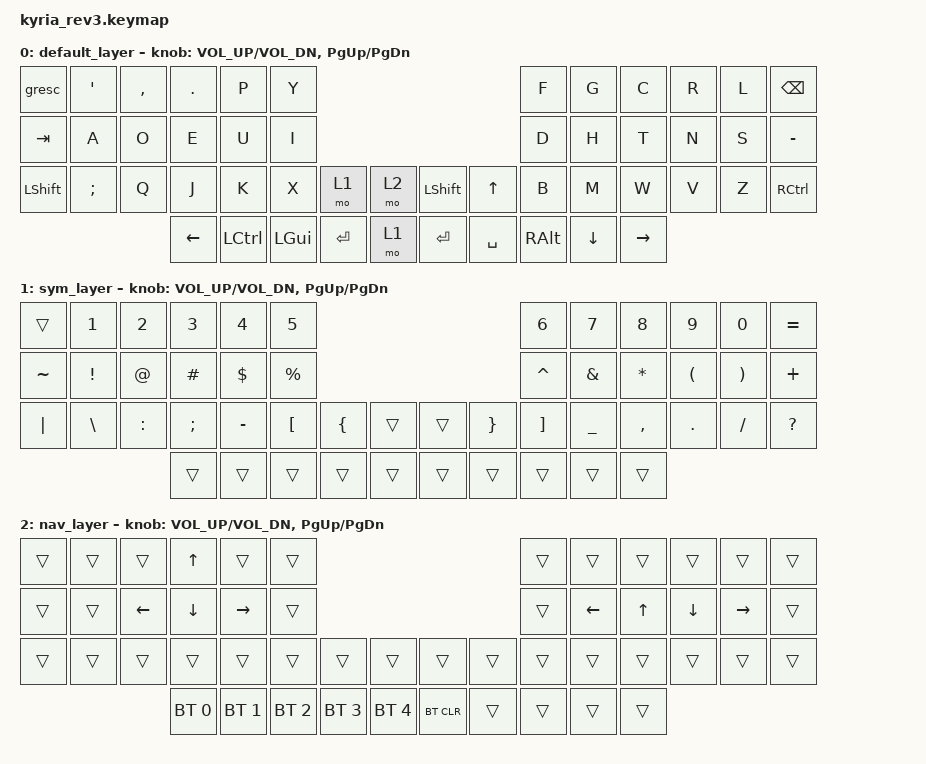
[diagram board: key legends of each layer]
/*
 * Copyright (c) 2023 The ZMK Contributors
 *
 * SPDX-License-Identifier: MIT
 */

#include <behaviors.dtsi>
#include <dt-bindings/zmk/bt.h>
#include <dt-bindings/zmk/keys.h>

#define DEF 0
#define SYM 1
#define NAV 2

/* Uncomment this block if using RGB
&led_strip {
    chain-length = <6>;
    // chain-length = <31>; // Uncomment if using both per-key and underglow LEDs
    // chain-length = <25>; // Uncomment if using only per-key LEDs.
};
 */
/*
&trans &trans &trans &trans &trans
*/

/ {
    combos {
        compatible = "zmk,combos";

        combo_left {
            bindings = <&kp LC(LA(LEFT))>;
            key-positions = <0 1>;
        };

        combo_right {
            bindings = <&kp LC(LA(RIGHT))>;
            key-positions = <2 3>;
        };

        combo_left_3 {
            bindings = <&kp LC(LA(E))>;
            key-positions = <12 13>;
        };

        combo_mid_3 {
            bindings = <&kp LC(LA(U))>;
            key-positions = <14 15>;
        };

        combo_right_3 {
            bindings = <&kp LC(LA(I))>;
            key-positions = <16 17>;
        };
    };

    keymap {
        compatible = "zmk,keymap";

        default_layer {
            // ---------------------------------------------------------------------------------------------------------------------------------
            // |   `   |  '  |  ,  |  .   |  P   |  Y   |                                          |  F   |  G    |  C    |  R   |   L   | BSPC |
            // |  TAB  |  A  |  O  |  E   |  U   |  I   |                                          |  D   |  H    |  T    |  N   |   S   |   -  |
            // | SHIFT |  ;  |  Q  |  J   |  K   |  X   |  TO:NAV | MO: SYM |  | L SHIFT | L SHIFT |  B   |  M    |  W    |  V   |   Z   | CTRL |
            //                     | CTRL | DEL  | GUI  |  RET    |   ESC   |  |   RET   |  SPACE  | TAB  | BSPC  | R-ALT |

            bindings = <
   &gresc  &kp APOS  &kp COMMA   &kp DOT      &kp P     &kp Y                                           &kp F     &kp G      &kp C  &kp R  &kp L   &kp BSPC
  &kp TAB     &kp A      &kp O     &kp E      &kp U     &kp I                                           &kp D     &kp H      &kp T  &kp N  &kp S  &kp MINUS
&kp LSHFT  &kp SEMI      &kp Q     &kp J      &kp K     &kp X    &mo 1  &mo 2  &kp LSHFT     &kp UP     &kp B     &kp M      &kp W  &kp V  &kp Z  &kp RCTRL
                                &kp LEFT  &kp LCTRL  &kp LGUI  &kp RET  &mo 1    &kp RET  &kp SPACE  &kp RALT  &kp DOWN  &kp RIGHT
            >;

            sensor-bindings = <&inc_dec_kp C_VOL_UP C_VOL_DN &inc_dec_kp PG_UP PG_DN>;
        };

        sym_layer {
            // -------------------------------------------------------------------------------------------------------------------------------------------------
            // |       |  1  |  2  |  3   |  4   |  5   |                                          |    6    |    7    |    8    |    9    |    0    |    =    |
            // |   ~   |  !  |  @  |  #   |  $   |  %   |                                          |    ^    |    &    |    *    |    (    |    )    |    +    |
            // |    |  |  \  |  :  |  ;   |  -   |  [   |  {   |            |  |         |   }     |    ]    |    _    |    ,    |    .    |    /    |    ?    |
            //                     |      |      |      |      |            |  |         |         |         |         |         |

            bindings = <
   &trans    &kp N1     &kp N2    &kp N3     &kp N4     &kp N5                                         &kp N6     &kp N7     &kp N8    &kp N9    &kp N0  &kp EQUAL
&kp TILDE  &kp EXCL     &kp AT  &kp HASH   &kp DLLR  &kp PRCNT                                      &kp CARET   &kp AMPS   &kp STAR  &kp LPAR  &kp RPAR   &kp PLUS
 &kp PIPE  &kp BSLH  &kp COLON  &kp SEMI  &kp MINUS   &kp LBKT  &kp LBRC  &trans  &trans  &kp RBRC   &kp RBKT  &kp UNDER  &kp COMMA   &kp DOT  &kp FSLH  &kp QMARK
                                  &trans     &trans     &trans    &trans  &trans  &trans    &trans     &trans     &trans     &trans
            >;

            sensor-bindings = <&inc_dec_kp C_VOL_UP C_VOL_DN &inc_dec_kp PG_UP PG_DN>;
        };

        nav_layer {
            // ---------------------------------------------------------------------------------------------------------------------------------
            // |   `   |  '  |  ,  |  .   |  P   |  Y   |                                          |  F   |  G    |  C    |  R   |   L   | BSPC |
            // |  TAB  |  A  |  O  |  E   |  U   |  I   |                                          |  D   |  LEFT |  UP   | DOWN | RIGHT |   -  |
            // | SHIFT |  ;  |  Q  |  J   |  K k  |  X   | L SHIFT | L SHIFT |  | L SHIFT |  UP     |  B   |  M    |  W    |  V   |   Z   | CTRL |
            //                     | GUI  | DEL  | RET  |  SPACE  |   ESC   |  |   LEFT  |  DOWN   | RIGHT  | BSPC  | R-ALT |

            bindings = <
&trans  &trans    &trans        &kp UP        &trans        &trans                                                  &trans    &trans  &trans    &trans     &trans  &trans
&trans  &trans  &kp LEFT      &kp DOWN     &kp RIGHT        &trans                                                  &trans  &kp LEFT  &kp UP  &kp DOWN  &kp RIGHT  &trans
&trans  &trans    &trans        &trans        &trans        &trans        &trans        &trans      &trans  &trans  &trans    &trans  &trans    &trans     &trans  &trans
                          &bt BT_SEL 0  &bt BT_SEL 1  &bt BT_SEL 2  &bt BT_SEL 3  &bt BT_SEL 4  &bt BT_CLR  &trans  &trans    &trans  &trans
            >;

            sensor-bindings = <&inc_dec_kp C_VOL_UP C_VOL_DN &inc_dec_kp PG_UP PG_DN>;
        };
    };
};
